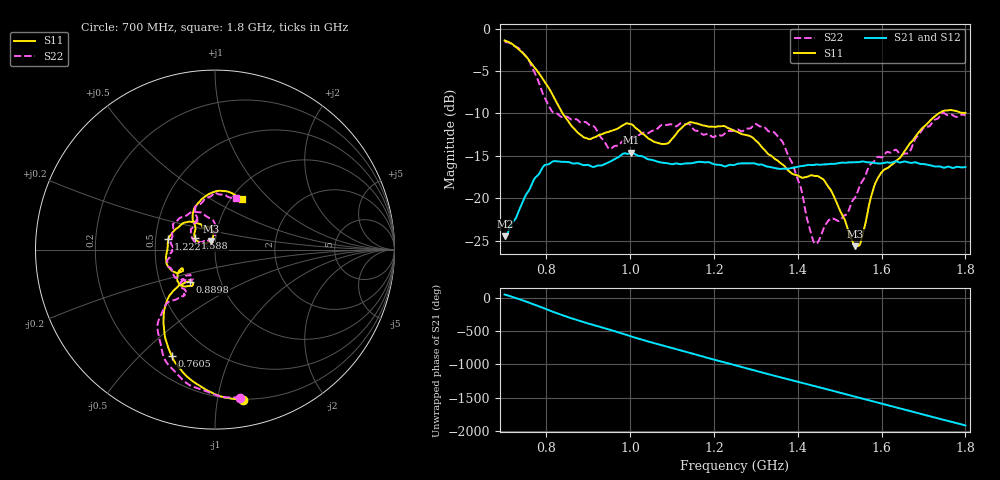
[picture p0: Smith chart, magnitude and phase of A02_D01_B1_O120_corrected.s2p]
! Created with skrf 1.9.0 (http://scikit-rf.org).
# Hz S RI R 50.0
!freq ReS11 ImS11 ReS21 ImS21 ReS12 ImS12 ReS22 ImS22
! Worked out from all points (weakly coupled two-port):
!   1601 points, 700 MHz to 1.8 GHz, reference 50 ohm
!   highest |S21| = -14.62 dB at 1.002 GHz (marker M1); lowest = -24.5 dB at 700.7 MHz (marker M2)
!   lowest |S11| = -25.6 dB at 1.537 GHz (marker M3), VSWR 1.11, Z = 47.8 + j4.61 ohm
!   |S11| at or under -10 dB: 838.6 MHz to 1.736 GHz (897.4 MHz wide, 69.7 % of centre)
!   |S22| runs from -25.4 to -1.5 dB; largest |S21 - S12| = 0.0038
!   S11 on the Smith chart (normalised r, x): 700 MHz: 0.20, -1.19; 760.5 MHz: 0.31, -0.62; 889.8 MHz: 0.71, -0.27; 1.222 GHz: 0.58, +0.07; 1.588 GHz: 0.79, +0.10; 1.8 GHz: 1.13, +0.70
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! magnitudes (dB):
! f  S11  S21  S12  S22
! 700 MHz  -1.4  -24.4  -24.2  -1.5
! 700.7 MHz  -1.4  -24.5  -24.1  -1.6
! 760.5 MHz  -3.9  -18.8  -18.7  -4.0
! 812.8 MHz  -7.6  -15.7  -15.7  -9.7
! 883.6 MHz  -12.6  -16.0  -15.9  -11.1
! 889.8 MHz  -12.8  -16.1  -16.0  -11.0
! 950.9 MHz  -12.1  -15.7  -15.7  -14.2
! 1.002 GHz  -11.3  -14.6  -14.7  -13.0
! 1.067 GHz  -13.5  -15.7  -15.6  -11.7
! 1.141 GHz  -11.0  -15.9  -15.8  -11.3
! 1.222 GHz  -11.5  -16.2  -16.2  -12.5
! 1.25 GHz  -12.1  -16.0  -16.0  -11.9
! 1.361 GHz  -15.9  -16.5  -16.5  -13.1
! 1.405 GHz  -17.4  -16.2  -16.2  -18.4
! 1.434 GHz  -17.3  -16.1  -16.1  -24.5
! 1.478 GHz  -19.0  -15.9  -15.9  -22.5
! 1.537 GHz  -25.6  -15.7  -15.7  -19.8
! 1.588 GHz  -17.9  -15.9  -15.9  -15.2
! 1.617 GHz  -16.3  -15.8  -15.7  -14.6
! 1.663 GHz  -13.8  -15.7  -15.8  -14.7
! 1.734 GHz  -10.1  -16.2  -16.3  -10.6
! 1.8 GHz  -9.9  -16.3  -16.3  -10.2
